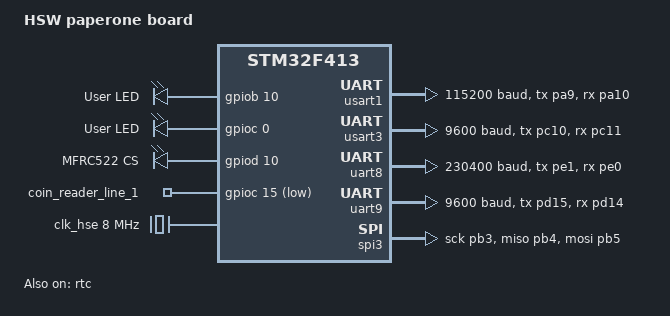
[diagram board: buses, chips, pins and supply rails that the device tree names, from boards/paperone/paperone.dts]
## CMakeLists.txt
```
cmake_minimum_required(VERSION 3.20.0)

find_package(Zephyr)
set(PROJECT_NAME cassa_rotondi)
project(${PROJECT_NAME})


set(SOURCE_DIR "${PROJECT_SOURCE_DIR}/src")
set(LIB_DIR "${PROJECT_SOURCE_DIR}/lib")

FILE(GLOB SOURCES "${SOURCE_DIR}/*.c" "${SOURCE_DIR}/bsp/*.c" "${SOURCE_DIR}/bsp/mfrc522/*.c" "${SOURCE_DIR}/adapters/*.c" "${SOURCE_DIR}/controller/*c" "${SOURCE_DIR}/model/*.c" 
    "${LIB_DIR}/mfrc522/src/*.c" "${LIB_DIR}/mdb/src/*.c" "${LIB_DIR}/mdb/src/devices/*.c")

target_include_directories(app PRIVATE ${SOURCE_DIR} "${LIB_DIR}/liblightmodbus/include" "${LIB_DIR}/mfrc522/src/" "${LIB_DIR}/mdb/src/")
target_sources(app PRIVATE ${SOURCES})
```

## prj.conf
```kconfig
CONFIG_SPI=y
CONFIG_SERIAL=y
CONFIG_UART_INTERRUPT_DRIVEN=y

# Console
CONFIG_CONSOLE=y
CONFIG_UART_CONSOLE=y

# Enable GPIO ports A, B, C, D, E, F, G, H
CONFIG_GPIO=y

# Logging configuration
CONFIG_LOG=y
CONFIG_LOG_DEFAULT_LEVEL=3
CONFIG_LOG_MODE_DEFERRED=n
CONFIG_LOG_MODE_IMMEDIATE=y

# Debug
CONFIG_DEBUG=y
```

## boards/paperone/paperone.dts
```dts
/*
 * Copyright (c) 2024 STMicroelectronics
 *
 * SPDX-License-Identifier: Apache-2.0
 */

/dts-v1/;
#include <st/f4/stm32f413Xg.dtsi>
#include <st/f4/stm32f413v(g-h)tx-pinctrl.dtsi>
#include "arduino_r3_connector.dtsi"
#include <zephyr/dt-bindings/input/input-event-codes.h>

/ {
	model = "HSW paperone board";
	compatible = "st,stm32f413";

	chosen {
		zephyr,console = &usart1;
		zephyr,shell-uart = &usart1;
		zephyr,sram = &sram0;
		zephyr,flash = &flash0;
	};

	leds {
		compatible = "gpio-leds";
		led_heartbit: D14 {
			gpios = <&gpiob 10 GPIO_ACTIVE_HIGH>;
			label = "User LED";
		};
	};

        digital_readers_enable_lines {
		compatible = "gpio-leds";
		digital_coin_reader_enable: inibit {
			gpios = <&gpioc 0 GPIO_ACTIVE_HIGH>;
			label = "User LED";
		};
        };

        spi_nss_lines {
            compatible = "gpio-leds";
            mfrc522_chip_select: CS3 {
                gpios = <&gpiod 10 GPIO_ACTIVE_HIGH>;
                label = "MFRC522 CS";
            };
        };

        digital_readers_input_lines {
            compatible = "gpio-keys";
            coin_reader_line_1: P_G1 {
                gpios = <&gpioc 15 GPIO_ACTIVE_LOW>;
            };
        };
};

&clk_lsi {
	status = "okay";
};

&clk_hse {
	//hse-bypass;
	clock-frequency = <DT_FREQ_M(8)>; /* STLink 8MHz clock */
	status = "okay";
};


/*
&pll {
	div-m = <4>;
	mul-n = <100>;
	div-p = <2>;
	div-q = <8>;
	clocks = <&clk_hse>;
	status = "okay";
};
*/

&rcc {
	//clocks = <&pll>;
	clocks = <&clk_hse>;
	//clock-frequency = <DT_FREQ_M(100)>;
	clock-frequency = <DT_FREQ_M(8)>;
	ahb-prescaler = <1>;
	apb1-prescaler = <1>;
	apb2-prescaler = <1>;
};

&usart1 {
    pinctrl-0 = <&usart1_tx_pa9 &usart1_rx_pa10>;
    pinctrl-names = "default";
    current-speed = <115200>;
    status = "okay";
};

uart_mdb: &usart3 {
    pinctrl-0 = <&usart3_tx_pc10 &usart3_rx_pc11>;
    pinctrl-names = "default";
    current-speed = <9600>;
    data-bits = <9>;
    status = "okay";
};

uart_rs232_client: &uart8 {
	pinctrl-0 = <&uart8_tx_pe1 &uart8_rx_pe0>;
	pinctrl-names = "default";
	current-speed = <230400>;
	status = "okay";
};

uart_cctalk: &uart9 {
	pinctrl-0 = <&uart9_tx_pd15 &uart8_rx_pd14>;
	pinctrl-names = "default";
	current-speed = <9600>;
	status = "okay";
};

/*
&usart6 {
	pinctrl-0 = <&usart6_tx_pg14 &usart6_rx_pg9>;
	pinctrl-names = "default";
	current-speed = <115200>;
	status = "okay";
};

&uart7 {
	pinctrl-0 = <&uart7_tx_pf7 &uart7_rx_pf6>;
	pinctrl-names = "default";
	current-speed = <115200>;
	status = "okay";
};

&i2c2 {
	pinctrl-0 = <&i2c2_scl_pb10 &i2c2_sda_pb11>;
	pinctrl-names = "default";
	clock-frequency = <I2C_BITRATE_FAST>;
	status = "okay";
};
*/

mfrc522_spi: &spi3 {
	pinctrl-0 = <&spi3_sck_pb3 &spi3_miso_pb4 &spi3_mosi_pb5>;
	pinctrl-names = "default";
	status = "okay";
};

&rtc {
	clocks = <&rcc STM32_CLOCK_BUS_APB1 0x10000000>,
		 <&rcc STM32_SRC_LSI RTC_SEL(2)>;
	status = "okay";
};
```

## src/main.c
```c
#include <stdio.h>
#include <zephyr/kernel.h>
#include <zephyr/drivers/gpio.h>
#include <zephyr/logging/log.h>
#include "bsp/heartbit.h"
#include "bsp/rs232_client.h"
#include "bsp/uart_mdb.h"
#include "bsp/uart_cctalk.h"
#include "bsp/digital_coin_reader.h"
#include "bsp/mfrc522/mfrc522.h"
#include "controller/controller.h"


LOG_MODULE_REGISTER(main);


int main(void) {
    bsp_heartbit_init();
    bsp_rs232_client_init();
    bsp_digital_coin_reader_init();
    bsp_mfrc522_init();
    bsp_uart_mdb_init();
    bsp_uart_cctalk_init();

    controller_init();

    for (;;) {
        controller_manage();
        k_msleep(1);
    }

    return 0;
}
```
